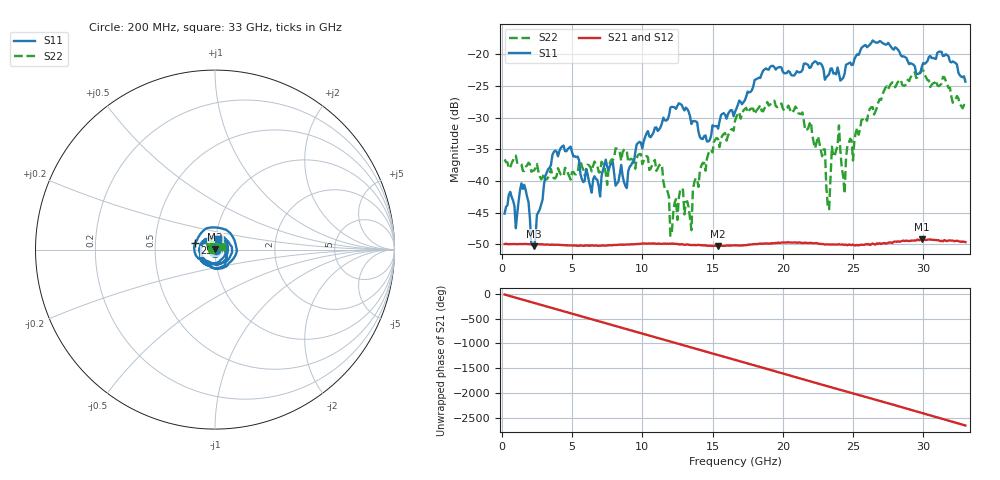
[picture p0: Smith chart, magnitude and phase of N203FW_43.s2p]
# GHZ S RI R 50
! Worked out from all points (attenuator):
!   329 points, 200 MHz to 33 GHz, reference 50 ohm
!   highest |S21| = -49.19 dB at 29.9 GHz (marker M1); lowest = -50.3 dB at 15.4 GHz (marker M2)
!   lowest |S11| = -50.3 dB at 2.3 GHz (marker M3), VSWR 1.01, Z = 50.1 + j0.301 ohm
!   |S11| at or under -10 dB: start of sweep to end of sweep
!   |S22| runs from -48.6 to -22.4 dB; largest |S21 - S12| = 9e-05
!   S11 on the Smith chart (normalised r, x): 200 MHz: 1.01, -0.00; 25.9 GHz: 0.80, +0.06; 33 GHz: 1.03, +0.12
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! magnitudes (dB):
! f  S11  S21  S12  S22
! 200 MHz  -45.1  -49.9  -49.9  -36.6
! 1.6 GHz  -40.6  -49.9  -49.9  -38.4
! 2.3 GHz  -50.3  -49.9  -49.9  -38.3
! 3.7 GHz  -35.4  -50.1  -50.0  -39.6
! 5.7 GHz  -39.7  -50.2  -50.2  -37.7
! 11.2 GHz  -31.9  -49.9  -49.9  -37.5
! 12 GHz  -28.4  -49.9  -49.9  -48.6
! 12.8 GHz  -28.0  -50.0  -50.0  -41.1
! 13.5 GHz  -31.0  -50.1  -50.1  -47.8
! 13.7 GHz  -30.5  -50.1  -50.1  -40.2
! 15.4 GHz  -31.7  -50.3  -50.3  -33.4
! 16.6 GHz  -29.1  -50.1  -50.2  -30.5
! 22.1 GHz  -21.5  -49.8  -49.8  -32.7
! 23 GHz  -24.0  -50.0  -50.0  -35.0
! 23.3 GHz  -23.2  -50.0  -50.0  -44.5
! 23.5 GHz  -22.2  -50.0  -50.0  -34.6
! 24 GHz  -23.0  -50.0  -50.0  -31.2
! 24.4 GHz  -23.1  -50.1  -50.0  -42.0
! 25.9 GHz  -18.6  -50.0  -50.0  -30.1
! 27.6 GHz  -18.5  -49.7  -49.7  -25.0
! 29.9 GHz  -22.0  -49.2  -49.3  -22.4
! 33 GHz  -24.3  -49.6  -49.7  -28.4
